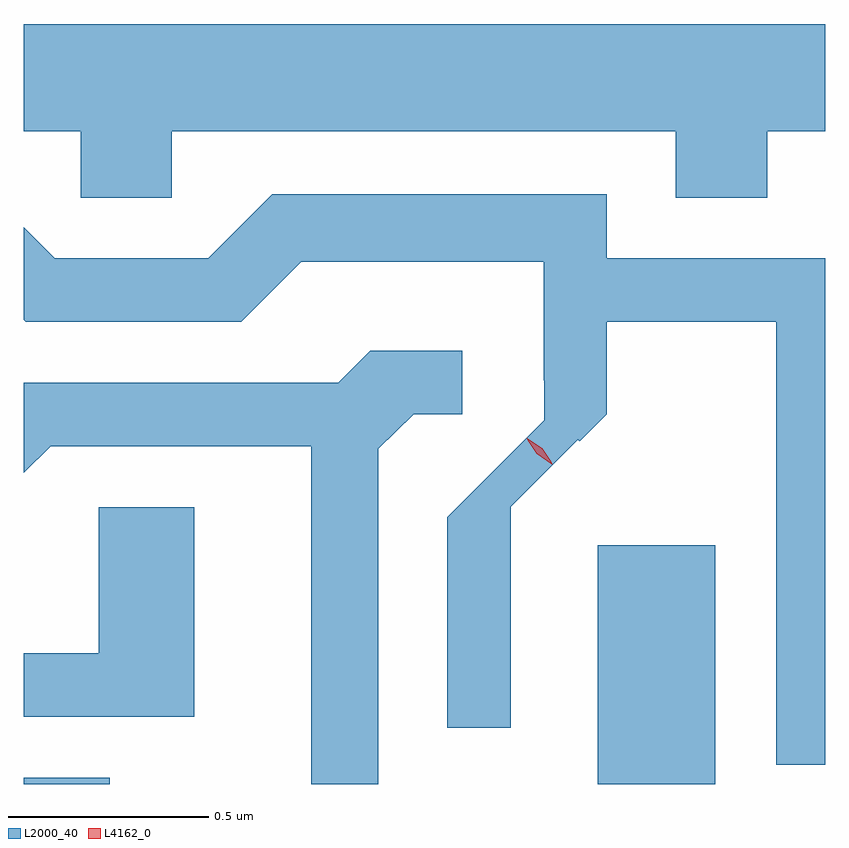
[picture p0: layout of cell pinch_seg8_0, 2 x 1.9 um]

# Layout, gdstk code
import gdstk
lib = gdstk.Library(unit=1e-6, precision=1e-09)
def R(c, l, rs):  # rectangles x0, y0, x1, y1
    for r in rs: c.add(gdstk.rectangle(r[:2], r[2:], *l))
def P(c, l, *ps):  # polygons
    for p in ps: c.add(gdstk.Polygon(p, *l))
L2000_40 = (2000, 40)
L4162_0 = (4162, 0)

pinch_seg8_0 = lib.new_cell('pinch_seg8_0')
R(pinch_seg8_0, L2000_40, [(1805.574,1837.008,1805.789,1837.024), (1807.006,1837.008,1807.299,1837.604)])
P(pinch_seg8_0, L2000_40, [(1805.944,1838.636),(1807.201,1838.636),(1807.201,1838.471),(1807.429,1838.471),(1807.429,1838.636),(1807.574,1838.636),(1807.574,1838.904),(1805.574,1838.904),(1805.574,1838.636),(1805.716,1838.636),(1805.716,1838.471),(1805.944,1838.471)],
  [(1807.574,1838.319),(1807.029,1838.319),(1807.029,1838.479),(1806.194,1838.479),(1806.034,1838.319),(1805.652,1838.319),(1805.574,1838.397),(1805.574,1838.166),(1805.579,1838.161),(1806.117,1838.161),(1806.267,1838.311),(1806.871,1838.311),(1806.871,1838.015),(1806.873,1838.015),(1806.873,1837.916),(1806.631,1837.674),(1806.631,1837.148),(1806.789,1837.148),(1806.789,1837.7),(1806.956,1837.867),(1806.961,1837.863),(1807.029,1837.931),(1807.029,1838.161),(1807.451,1838.161),(1807.451,1837.056),(1807.574,1837.056)],
  [(1806.459,1837.844),(1806.547,1837.931),(1806.668,1837.931),(1806.668,1838.089),(1806.439,1838.089),(1806.359,1838.009),(1805.574,1838.009),(1805.574,1837.784),(1805.642,1837.851),(1806.291,1837.851),(1806.291,1837.008),(1806.459,1837.008)],
  [(1805.999,1837.699),(1805.761,1837.699),(1805.761,1837.334),(1805.574,1837.334),(1805.574,1837.176),(1805.999,1837.176)])
P(pinch_seg8_0, L4162_0, [(1806.892,1837.806),(1806.854,1837.832),(1806.829,1837.871),(1806.829,1837.871),(1806.83,1837.871),(1806.868,1837.846),(1806.893,1837.807),(1806.893,1837.806)],
  [(1806.889,1837.811),(1806.854,1837.832),(1806.832,1837.866),(1806.832,1837.866),(1806.833,1837.866),(1806.868,1837.846),(1806.89,1837.812),(1806.89,1837.811)])

lib.write_gds('pinch_seg8_0.gds')
